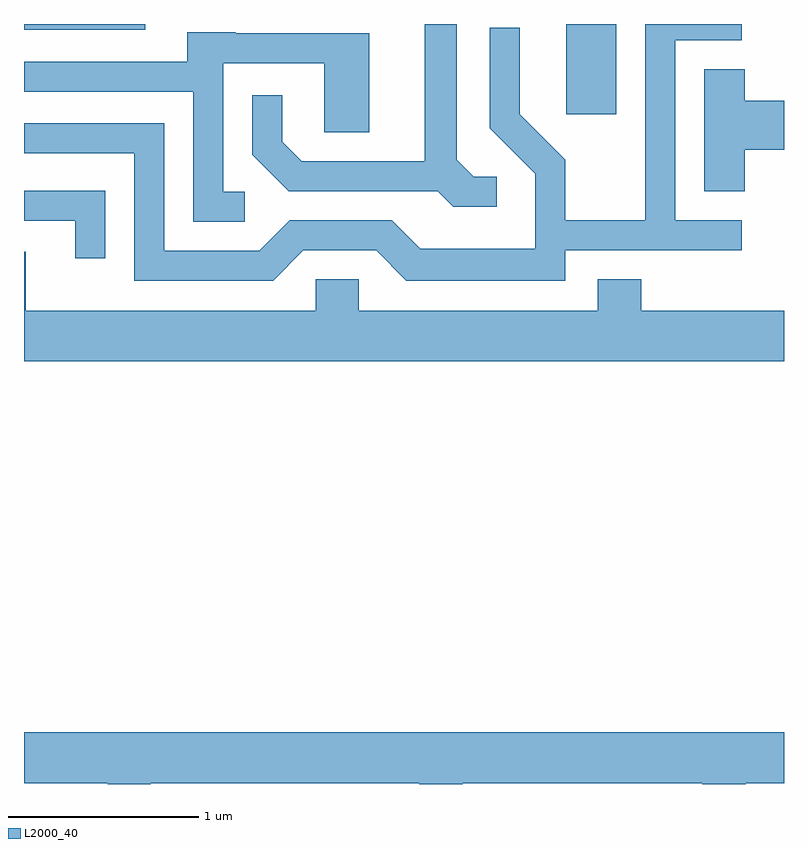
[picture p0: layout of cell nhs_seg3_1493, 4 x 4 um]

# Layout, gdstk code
import gdstk
lib = gdstk.Library(unit=1e-6, precision=1e-09)
def R(c, l, rs):  # rectangles x0, y0, x1, y1
    for r in rs: c.add(gdstk.rectangle(r[:2], r[2:], *l))
def P(c, l, *ps):  # polygons
    for p in ps: c.add(gdstk.Polygon(p, *l))
L2000_40 = (2000, 40)

nhs_seg3_1493 = lib.new_cell('nhs_seg3_1493')
R(nhs_seg3_1493, L2000_40, [(230.466,1249.416,230.729,1249.892), (227.611,1249.861,228.249,1249.892)])
P(nhs_seg3_1493, L2000_40, [(230.098,1249.089),(229.977,1249.089),(229.889,1249.177),(229.889,1249.892),(229.721,1249.892),(229.721,1249.169),(229.072,1249.169),(228.969,1249.272),(228.969,1249.518),(228.811,1249.518),(228.811,1249.204),(229.004,1249.011),(229.789,1249.011),(229.869,1248.931),(230.098,1248.931)],
  [(229.082,1248.701),(229.464,1248.701),(229.624,1248.541),(230.459,1248.541),(230.459,1248.701),(231.388,1248.701),(231.388,1248.859),(231.039,1248.859),(231.039,1249.806),(231.388,1249.806),(231.388,1249.892),(230.881,1249.892),(230.881,1248.859),(230.459,1248.859),(230.459,1249.177),(230.219,1249.417),(230.219,1249.873),(230.061,1249.873),(230.061,1249.344),(230.301,1249.104),(230.301,1248.709),(229.697,1248.709),(229.547,1248.859),(229.009,1248.859),(228.849,1248.699),(228.349,1248.699),(228.349,1249.369),(227.611,1249.369),(227.611,1249.211),(228.191,1249.211),(228.191,1248.541),(228.922,1248.541)],
  [(228.773,1249.009),(228.659,1249.009),(228.659,1249.686),(229.191,1249.686),(229.191,1249.321),(229.429,1249.321),(229.429,1249.844),(228.725,1249.844),(228.725,1249.849),(228.471,1249.849),(228.471,1249.694),(227.611,1249.694),(227.611,1249.536),(228.501,1249.536),(228.501,1248.851),(228.773,1248.851)],
  [(231.404,1249.231),(231.611,1249.231),(231.611,1249.489),(231.404,1249.489),(231.404,1249.654),(231.191,1249.654),(231.191,1249.011),(231.404,1249.011)],
  [(228.039,1249.014),(227.611,1249.014),(227.611,1248.856),(227.881,1248.856),(227.881,1248.658),(228.039,1248.658)],
  [(231.611,1248.384),(230.859,1248.384),(230.859,1248.549),(230.631,1248.549),(230.631,1248.384),(229.374,1248.384),(229.374,1248.549),(229.146,1248.549),(229.146,1248.384),(227.619,1248.384),(227.619,1248.694),(227.611,1248.694),(227.611,1248.116),(231.611,1248.116)],
  [(228.279,1245.896),(229.691,1245.896),(229.691,1245.892),(229.919,1245.892),(229.919,1245.896),(231.181,1245.896),(231.181,1245.892),(231.409,1245.892),(231.409,1245.896),(231.611,1245.896),(231.611,1246.164),(227.611,1246.164),(227.611,1245.896),(228.051,1245.896),(228.051,1245.892),(228.279,1245.892)])

lib.write_gds('nhs_seg3_1493.gds')
